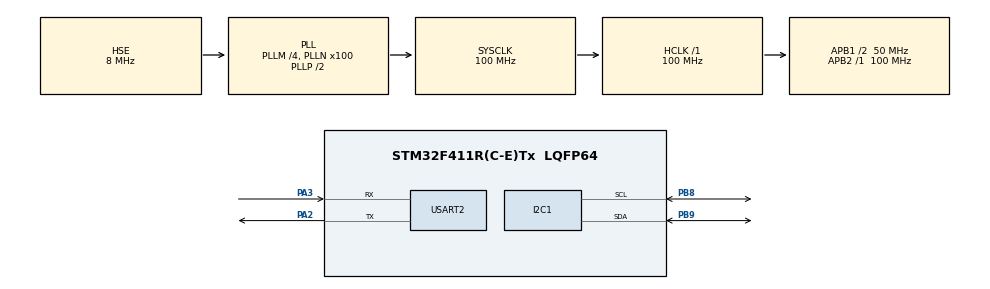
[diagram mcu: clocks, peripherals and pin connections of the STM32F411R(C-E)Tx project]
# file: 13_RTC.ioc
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Mcu.Family=STM32F4
Mcu.Name=STM32F411R(C-E)Tx
Mcu.Package=LQFP64
NVIC.PriorityGroup=NVIC_PRIORITYGROUP_4
NVIC.USART2_IRQn=true\:0\:0\:false\:false\:true\:true\:true\:true
PA13.Mode=Serial_Wire
PA13.Signal=SYS_JTMS-SWDIO
PA14.Mode=Serial_Wire
PA14.Signal=SYS_JTCK-SWCLK
PA2.Mode=Asynchronous
PA2.Signal=USART2_TX
PA3.Mode=Asynchronous
PA3.Signal=USART2_RX
PB8.Mode=I2C
PB8.Signal=I2C1_SCL
PB9.Mode=I2C
PB9.Signal=I2C1_SDA
PH0\ -\ OSC_IN.Mode=HSE-External-Oscillator
PH0\ -\ OSC_IN.Signal=RCC_OSC_IN
PH1\ -\ OSC_OUT.Mode=HSE-External-Oscillator
PH1\ -\ OSC_OUT.Signal=RCC_OSC_OUT
ProjectManager.HeapSize=0x200
ProjectManager.StackSize=0x400
ProjectManager.TargetToolchain=STM32CubeIDE
RCC.48MHZClocksFreq_Value=50000000
RCC.AHBFreq_Value=100000000
RCC.APB1CLKDivider=RCC_HCLK_DIV2
RCC.APB1Freq_Value=50000000
RCC.APB1TimFreq_Value=100000000
RCC.APB2Freq_Value=100000000
RCC.APB2TimFreq_Value=100000000
RCC.CortexFreq_Value=100000000
RCC.HCLKFreq_Value=100000000
RCC.HSE_VALUE=8000000
RCC.HSI_VALUE=16000000
RCC.LSE_VALUE=32768
RCC.PLLM=4
RCC.PLLN=100
RCC.PLLSourceVirtual=RCC_PLLSOURCE_HSE
RCC.SYSCLKFreq_VALUE=100000000
RCC.SYSCLKSource=RCC_SYSCLKSOURCE_PLLCLK
RCC.VCOOutputFreq_Value=200000000
USART2.VirtualMode=VM_ASYNC
VP_RTC_VS_RTC_Activate.Mode=RTC_Enabled
VP_RTC_VS_RTC_Calendar.Mode=RTC_Calendar
board=custom

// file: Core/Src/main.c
/* USER CODE BEGIN Header */
/**
  ******************************************************************************
  * @file           : main.c
  * @brief          : Main program body
  ******************************************************************************
  * @attention
  *
  * Copyright (c) 2025 STMicroelectronics.
  * All rights reserved.
  *
  * This software is licensed under terms that can be found in the LICENSE file
  * in the root directory of this software component.
  * If no LICENSE file comes with this software, it is provided AS-IS.
  *
  ******************************************************************************
  */
/* USER CODE END Header */
#include "main.h"
#include "i2c.h"
#include "rtc.h"
#include "usart.h"
#include "gpio.h"

/* USER CODE BEGIN Includes */
#include "stdio.h"
#include "string.h"
#include "I2C_LCD.h"
/* USER CODE END Includes */

/* USER CODE BEGIN PD */

#define BCD_TO_DEC(val)  (((val >> 4) * 10) + (val & 0x0f))
#define DEC_TO_BCD(val)  (((val/10) <<4) | (val %10))

/* USER CODE END PD */

/* USER CODE BEGIN PV */

RTC_TimeTypeDef rtcTime;
RTC_DateTypeDef rtcDate;

char temp[50];
char buffer1[16] = {0};
char buffer2[16] = {0};

uint8_t rxData;
uint8_t buffIndex = 0;
uint8_t buff[30];

/* USER CODE END PV */

void SystemClock_Config(void);
/* USER CODE BEGIN PFP */

void HAL_UART_RxCpltCallback(UART_HandleTypeDef *huart)
{
	if(huart->Instance == USART2)
	{
		if(rxData == '\n')  //수신되 데이터가 \n 이면
		{
			buff[buffIndex] = 0; // 널 문자 추가  , 마지막 널문자 넣으면 문자열로 만들어 주겠다.
			char *ptr;

			if((ptr = strstr((char *)buff, "setTime"))!= NULL) //str함수는 문자열을 검색한다.
			{
				// "setTime" 명령 다음의 숫자를 BCD 형태로 변환해서 시간 설정
				rtcTime.Hours   = ((*(ptr + 7) - '0') << 4) + (*(ptr + 8) -'0'); //hour 설정
				rtcTime.Minutes = ((*(ptr + 9) - '0') << 4) + (*(ptr + 10) -'0');  //minute설정
				rtcTime.Seconds = ((*(ptr + 11) - '0') << 4) + (*(ptr + 12) -'0');   // second 설정

				HAL_RTC_SetTime(&hrtc, &rtcTime, RTC_FORMAT_BCD);

			}
			else if((ptr = strstr((char *)buff, "setDate"))!= NULL)
			{
				rtcDate.Year  = ((*(ptr + 7) - '0') << 4) + (*(ptr + 8) -'0'); //year 설정
				rtcDate.Month = ((*(ptr + 9) - '0') << 4) + (*(ptr + 10) -'0');  // month 설정
				rtcDate.Date  = ((*(ptr + 11) - '0') << 4) + (*(ptr + 12) -'0');   // date 설정

				HAL_RTC_SetDate(&hrtc, &rtcDate, RTC_FORMAT_BCD);
			}
			buffIndex = 0;
		}
		else
		{
			//수신된 데이터가 \n이 이 아니면
			if(buffIndex < 30)
			{
				buff[buffIndex++] = rxData; //버퍼에 데이터 추가   //실행한 다음 후 연산자
			}
		}

		HAL_UART_Receive_IT(&huart2, &rxData, 1);
	}

}

/* USER CODE END PFP */

int main(void)
{

  /* MCU Configuration--------------------------------------------------------*/

  /* Reset of all peripherals, Initializes the Flash interface and the Systick. */
  HAL_Init();

  /* Configure the system clock */
  SystemClock_Config();

  /* Initialize all configured peripherals */
  MX_GPIO_Init();
  MX_RTC_Init();
  MX_USART2_UART_Init();
  MX_I2C1_Init();
  /* USER CODE BEGIN 2 */

  i2c_lcd_init();
  HAL_UART_Receive_IT(&huart2, &rxData, 1);

  /* USER CODE END 2 */

  /* Infinite loop */
  /* USER CODE BEGIN WHILE */
  while (1)
  {
	  HAL_RTC_GetTime(&hrtc, &rtcTime, RTC_FORMAT_BCD);
	  HAL_RTC_GetDate(&hrtc, &rtcDate, RTC_FORMAT_BCD);

	  sprintf(temp, "\r\n20%02x-%02x-%02x %02x : %02x : %02x",
			  rtcDate.Year, rtcDate.Month, rtcDate.Date,
			  rtcTime.Hours, rtcTime.Minutes, rtcTime.Seconds);

	  HAL_UART_Transmit(&huart2, temp, strlen(temp), 10);

	  sprintf(buffer1, "20%02x-%02x-%02x", rtcDate.Year, rtcDate.Month, rtcDate.Date);
	  sprintf(buffer2, "%02x : %02x : %02x",rtcTime.Hours, rtcTime.Minutes, rtcTime.Seconds);
	  move_cursor(0,0);
	  lcd_string(buffer1);
	  move_cursor(1,0);
	  lcd_string(buffer2);

	  HAL_Delay(1000);

    /* USER CODE END WHILE */

//	  char buffer[16];
//
//	  	          move_cursor(0,0);
//	  	          sprintf(buffer, "Temp: %d C", dht.temperature);
//	  	          lcd_string(buffer);
//
//	  	          move_cursor(1,0);
//	  	          sprintf(buffer, "Hum: %d %%", dht.humidity);
//	  	          lcd_string(buffer);
//
  }
}

void SystemClock_Config(void)
{
  RCC_OscInitTypeDef RCC_OscInitStruct = {0};
  RCC_ClkInitTypeDef RCC_ClkInitStruct = {0};

  /** Configure the main internal regulator output voltage
  */
  __HAL_RCC_PWR_CLK_ENABLE();
  __HAL_PWR_VOLTAGESCALING_CONFIG(PWR_REGULATOR_VOLTAGE_SCALE1);

  /** Initializes the RCC Oscillators according to the specified parameters
  * in the RCC_OscInitTypeDef structure.
  */
  RCC_OscInitStruct.OscillatorType = RCC_OSCILLATORTYPE_LSI|RCC_OSCILLATORTYPE_HSE;
  RCC_OscInitStruct.HSEState = RCC_HSE_ON;
  RCC_OscInitStruct.LSIState = RCC_LSI_ON;
  RCC_OscInitStruct.PLL.PLLState = RCC_PLL_ON;
  RCC_OscInitStruct.PLL.PLLSource = RCC_PLLSOURCE_HSE;
  RCC_OscInitStruct.PLL.PLLM = 4;
  RCC_OscInitStruct.PLL.PLLN = 100;
  RCC_OscInitStruct.PLL.PLLP = RCC_PLLP_DIV2;
  RCC_OscInitStruct.PLL.PLLQ = 4;
  if (HAL_RCC_OscConfig(&RCC_OscInitStruct) != HAL_OK)
  {
    Error_Handler();
  }

  /** Initializes the CPU, AHB and APB buses clocks
  */
  RCC_ClkInitStruct.ClockType = RCC_CLOCKTYPE_HCLK|RCC_CLOCKTYPE_SYSCLK
                              |RCC_CLOCKTYPE_PCLK1|RCC_CLOCKTYPE_PCLK2;
  RCC_ClkInitStruct.SYSCLKSource = RCC_SYSCLKSOURCE_PLLCLK;
  RCC_ClkInitStruct.AHBCLKDivider = RCC_SYSCLK_DIV1;
  RCC_ClkInitStruct.APB1CLKDivider = RCC_HCLK_DIV2;
  RCC_ClkInitStruct.APB2CLKDivider = RCC_HCLK_DIV1;

  if (HAL_RCC_ClockConfig(&RCC_ClkInitStruct, FLASH_LATENCY_3) != HAL_OK)
  {
    Error_Handler();
  }
}

void Error_Handler(void)
{
  __disable_irq();
  while (1)
  {
  }
}
